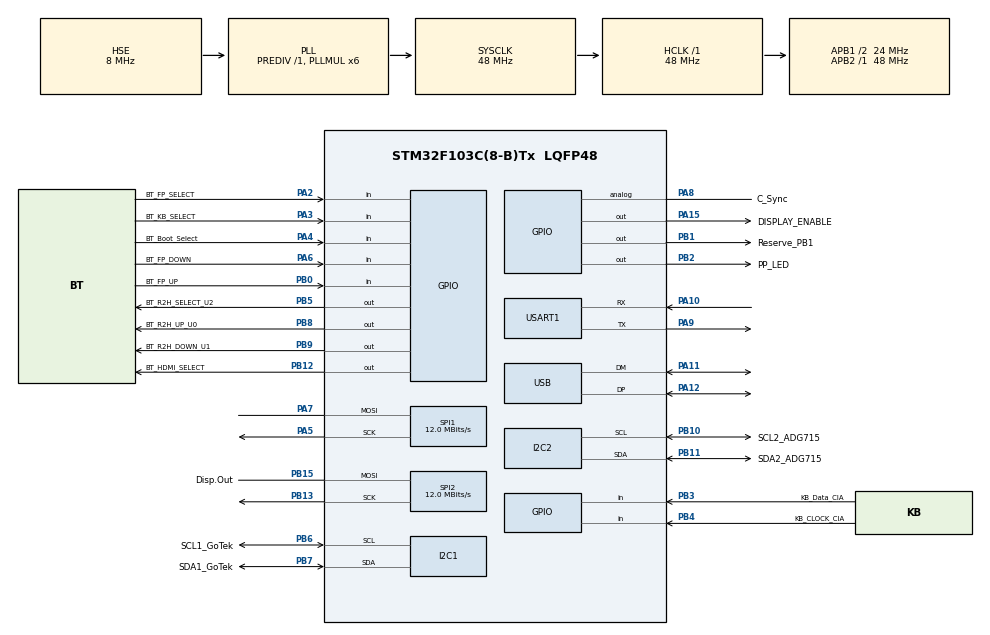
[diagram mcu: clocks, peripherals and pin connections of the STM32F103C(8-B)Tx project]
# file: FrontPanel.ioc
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Mcu.Family=STM32F1
Mcu.Name=STM32F103C(8-B)Tx
Mcu.Package=LQFP48
NVIC.PriorityGroup=NVIC_PRIORITYGROUP_4
PA10.Mode=Asynchronous
PA10.Signal=USART1_RX
PA11.Mode=Device
PA11.Signal=USB_DM
PA12.Mode=Device
PA12.Signal=USB_DP
PA13.Mode=Serial_Wire
PA13.Signal=SYS_JTMS-SWDIO
PA14.Mode=Serial_Wire
PA14.Signal=SYS_JTCK-SWCLK
PA15.GPIO_Label=DISPLAY_ENABLE
PA15.Signal=GPIO_Output
PA2.GPIO_Label=BT_FP_SELECT
PA2.Signal=GPIO_Input
PA3.GPIO_Label=BT_KB_SELECT
PA3.Signal=GPIO_Input
PA4.GPIO_Label=BT_Boot_Select
PA4.GPIO_Mode=GPIO_MODE_INPUT
PA4.Signal=GPIO_Input
PA5.Mode=Simplex_Bidirectional_Master
PA5.Signal=SPI1_SCK
PA6.GPIO_Label=BT_FP_DOWN
PA6.Signal=GPIO_Input
PA7.GPIO_Mode=GPIO_MODE_AF_PP
PA7.GPIO_Speed=GPIO_SPEED_FREQ_HIGH
PA7.Mode=Simplex_Bidirectional_Master
PA7.Signal=SPI1_MOSI
PA8.GPIO_Label=C_Sync
PA8.Signal=GPIO_Analog
PA9.Mode=Asynchronous
PA9.Signal=USART1_TX
PB0.GPIO_Label=BT_FP_UP
PB0.Signal=GPIO_Input
PB1.GPIO_Label=Reserve_PB1
PB1.Signal=GPIO_Output
PB10.GPIO_Label=SCL2_ADG715
PB10.Mode=I2C
PB10.Signal=I2C2_SCL
PB11.GPIO_Label=SDA2_ADG715
PB11.Mode=I2C
PB11.Signal=I2C2_SDA
PB12.GPIO_Label=BT_HDMI_SELECT
PB12.PinState=GPIO_PIN_SET
PB12.Signal=GPIO_Output
PB13.Mode=Simplex_Bidirectional_Master
PB13.Signal=SPI2_SCK
PB15.GPIO_Label=Disp.Out
PB15.Mode=Simplex_Bidirectional_Master
PB15.Signal=SPI2_MOSI
PB2.GPIO_Label=PP_LED
PB2.Signal=GPIO_Output
PB3.GPIO_Label=KB_Data_CIA
PB3.Signal=GPIO_Input
PB4.GPIO_Label=KB_CLOCK_CIA
PB4.Signal=GPIO_Input
PB5.GPIO_Label=BT_R2H_SELECT_U2
PB5.PinState=GPIO_PIN_SET
PB5.Signal=GPIO_Output
PB6.GPIO_Label=SCL1_GoTek
PB6.Mode=I2C
PB6.Signal=I2C1_SCL
PB7.GPIO_Label=SDA1_GoTek
PB7.Mode=I2C
PB7.Signal=I2C1_SDA
PB8.GPIO_Label=BT_R2H_UP_U0
PB8.PinState=GPIO_PIN_SET
PB8.Signal=GPIO_Output
PB9.GPIO_Label=BT_R2H_DOWN_U1
PB9.PinState=GPIO_PIN_SET
PB9.Signal=GPIO_Output
PC14-OSC32_IN.Mode=LSE-External-Oscillator
PC14-OSC32_IN.Signal=RCC_OSC32_IN
PC15-OSC32_OUT.Mode=LSE-External-Oscillator
PC15-OSC32_OUT.Signal=RCC_OSC32_OUT
PD0-OSC_IN.Mode=HSE-External-Oscillator
PD0-OSC_IN.Signal=RCC_OSC_IN
PD1-OSC_OUT.Mode=HSE-External-Oscillator
PD1-OSC_OUT.Signal=RCC_OSC_OUT
ProjectManager.HeapSize=0x200
ProjectManager.StackSize=0x400
ProjectManager.TargetToolchain=STM32CubeIDE
RCC.AHBFreq_Value=48000000
RCC.APB1CLKDivider=RCC_HCLK_DIV2
RCC.APB1Freq_Value=24000000
RCC.APB1TimFreq_Value=48000000
RCC.APB2Freq_Value=48000000
RCC.APB2TimFreq_Value=48000000
RCC.HCLKFreq_Value=48000000
RCC.PLLMUL=RCC_PLL_MUL6
RCC.SYSCLKFreq_VALUE=48000000
RCC.SYSCLKSource=RCC_SYSCLKSOURCE_PLLCLK
RCC.USBFreq_Value=48000000
SPI1.BaudRatePrescaler=SPI_BAUDRATEPRESCALER_4
SPI1.CalculateBaudRate=12.0 MBits/s
SPI1.Direction=SPI_DIRECTION_1LINE
SPI1.Mode=SPI_MODE_MASTER
SPI1.VirtualType=VM_MASTER
SPI2.CalculateBaudRate=12.0 MBits/s
SPI2.Direction=SPI_DIRECTION_1LINE
SPI2.Mode=SPI_MODE_MASTER
SPI2.VirtualType=VM_MASTER
USART1.VirtualMode=VM_ASYNC
board=custom

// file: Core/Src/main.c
/* USER CODE BEGIN Header */
/**
  ******************************************************************************
  * @file           : main.c
  * @brief          : Main program body
  ******************************************************************************
  * @attention
  *
  * Copyright (c) 2024 STMicroelectronics.
  * All rights reserved.
  *
  * This software is licensed under terms that can be found in the LICENSE file
  * in the root directory of this software component.
  * If no LICENSE file comes with this software, it is provided AS-IS.
  *
  ******************************************************************************
  */
/* USER CODE END Header */
#include "main.h"

I2C_HandleTypeDef hi2c1;
I2C_HandleTypeDef hi2c2;

SPI_HandleTypeDef hspi1;
SPI_HandleTypeDef hspi2;

UART_HandleTypeDef huart1;

PCD_HandleTypeDef hpcd_USB_FS;

void SystemClock_Config(void);
static void MX_GPIO_Init(void);
static void MX_USB_PCD_Init(void);
static void MX_I2C1_Init(void);
static void MX_I2C2_Init(void);
static void MX_SPI1_Init(void);
static void MX_USART1_UART_Init(void);
static void MX_SPI2_Init(void);

/* USER CODE BEGIN 0 */
#define FLASH_ADDRESS_PATTERN  0x0801F800 //letzte Speicheradresse, da von vorne der Speicher mit dem Code selbst gefüllt wird
uint32_t buttonPressTime = 0;
uint32_t buttonReleaseTime = 0;
uint8_t buttonPressed = 0;

#define FLASH_STORAGE_ADDR 0x0801F800
#define FP 1U //FP = FrontPanel
#define BS 0U //BS = BootSelector
//#define HS 2U //HS = Hdmi Select
#define storage_type FP
uint64_t var_flash_Data =0;
uint64_t *flash_data = &var_flash_Data;
uint8_t var_fp_sw_patern =0;
uint8_t *fp_sw_patern = &var_fp_sw_patern;
uint8_t var_bs_sw_patern;
uint8_t *bs_sw_patern = &var_bs_sw_patern;
//uint8_t var_hs_sw_patern;
//uint8_t *hs_sw_patern = &var_hs_sw_patern;

/* USER CODE END 0 */

int main(void)
{

  /* MCU Configuration--------------------------------------------------------*/

  /* Reset of all peripherals, Initializes the Flash interface and the Systick. */
  HAL_Init();

  /* USER CODE BEGIN Init */
    /* Set I2C-Bus-Adress and Pattern for FrontPanel LEDs  */
	static const uint8_t ADG715_FP_ADDR = 0x48 << 1 ; //Use7-bit address
	*fp_sw_patern =                  0b00000000;
	//uint8_t LED_FP_UP =              0b10000000;
	//uint8_t LED_FP_DOWN =            0b01000000;
	//uint8_t LED_FP_SELECT =          0b00100000;
	uint8_t LED_BOOT_SELECT_DF1_3 =  0b00010000;
	uint8_t LED_HDMI_SELECT =        0b00001000;
	uint8_t LED_KB_SELECT =          0b00000100;
	uint8_t LED_BOOT_SELECT_DF2_3 =  0b00000010;
	uint8_t KB_SELECT =              0b00000001;
	uint8_t LED_R2H_DISPLAY_ENABLE = 0b11100000;

	/* Set I2C-Bus-Adress and Pattern for Boot-Selector  */
	static const uint8_t ADG715_Boot_SELECTOR_ADDR = 0x49 << 1 ; //Use7-bit address
	*bs_sw_patern = 0b00000000;
	uint8_t DF0 =   0b00000000;
	uint8_t DF1 =   0b01000011;
	uint8_t DF2 =   0b10001100;
	uint8_t DF3 =   0b11110000;
	//	uint8_t DF_BOOT_SELECT_LED =   0b01000000;

	_Bool R2H_DISPLAY_ENABLED = 0; // 1 = up,down and Select button are used for Rgb2hdmi; 0 = Buttons are used for GoTek

	/* Set Constant of HDMI-Select
	uint8_t hdmi_A =   0b00000000; // this Variable stores the Pattern for selecting the A-output of the HDMI-Switch
	uint8_t hdmi_B =   0b00000001; // this Variable stores the Pattern for selecting the B-output of the HDMI-Switch
	*/

  /* USER CODE END Init */

  /* Configure the system clock */
  SystemClock_Config();

  /* Initialize all configured peripherals */
  MX_GPIO_Init();
  MX_USB_PCD_Init();
  MX_I2C1_Init();
  MX_I2C2_Init();
  MX_SPI1_Init();
  MX_USART1_UART_Init();
  MX_SPI2_Init();
  /* USER CODE BEGIN 2 */
  // Listen on GPIO for Interrupts
  //HAL_GPIO_EXTI_IRQHandler(GPIO_PIN_0);

  // Read Flash_Storage if it is erased than write Default Pattern
  	  	// erase_flash();
  	  	read_flash(FP);
    	read_flash(BS);

    	if (*fp_sw_patern == 255 && *bs_sw_patern == 255)
    	{
    		*fp_sw_patern = 0b00000000;
    		write_flash(FP)	;
    		*bs_sw_patern = 0b00000000;
    		write_flash(BS)	;
    	}
    	//check I2C-Bus and indicate status on PP-LED
		switch (HAL_I2C_IsDeviceReady(&hi2c2, ADG715_FP_ADDR, 1, 300))
		{
			case HAL_BUSY:
				HAL_GPIO_WritePin(PP_LED_GPIO_Port, PP_LED_Pin, 1);
				HAL_Delay(1000);
				HAL_GPIO_WritePin(PP_LED_GPIO_Port, PP_LED_Pin, 0);
				HAL_Delay(1000);
			break;
			case HAL_TIMEOUT:
				HAL_GPIO_WritePin(PP_LED_GPIO_Port, PP_LED_Pin, 1);
				HAL_Delay(500);
				HAL_GPIO_WritePin(PP_LED_GPIO_Port, PP_LED_Pin, 0);
				HAL_Delay(50);
			break;
			case HAL_ERROR:
				HAL_GPIO_WritePin(PP_LED_GPIO_Port, PP_LED_Pin, 1);
				HAL_Delay(50);
				HAL_GPIO_WritePin(PP_LED_GPIO_Port, PP_LED_Pin, 0);
				HAL_Delay(100);
			break;
			case HAL_OK:
				// write pattern to ADG715 Switch IC
				HAL_I2C_Master_Transmit(&hi2c2, ADG715_FP_ADDR, fp_sw_patern, 1, 100);
				HAL_I2C_Master_Transmit(&hi2c2, ADG715_Boot_SELECTOR_ADDR, bs_sw_patern, 1, 100);
				HAL_GPIO_WritePin(PP_LED_GPIO_Port, PP_LED_Pin, 1);
				//HAL_Delay(100);
			break;
		}
		// Check if R2H_DISPLAY_ENABLED was enabled before PowerOff --> switch off LEDs and write to flash
		if ((*fp_sw_patern & LED_R2H_DISPLAY_ENABLE) == LED_R2H_DISPLAY_ENABLE){
			*fp_sw_patern = *fp_sw_patern - LED_R2H_DISPLAY_ENABLE;
			HAL_I2C_Master_Transmit(&hi2c2, ADG715_FP_ADDR, fp_sw_patern, 1, 100);
			write_flash(FP);
		}
		// Set HDMI-Switch according to the stored Status (before Powered off)
		if((*fp_sw_patern & LED_HDMI_SELECT) == LED_HDMI_SELECT ){
			HAL_GPIO_WritePin(BT_HDMI_SELECT_GPIO_Port, BT_HDMI_SELECT_Pin,0);
			HAL_Delay(50);
			HAL_GPIO_WritePin(BT_HDMI_SELECT_GPIO_Port, BT_HDMI_SELECT_Pin,1);
			HAL_Delay(50);
		}

  /* USER CODE END 2 */

  /* Infinite loop */
  while (1)
  {

    /* USER CODE BEGIN 3 */

	  HAL_GPIO_WritePin(PP_LED_GPIO_Port, PP_LED_Pin, 0);

	  // If Button KB_SELECT is pushed switch than toggle LED_KB_SELECT
		if (!HAL_GPIO_ReadPin (BT_KB_SELECT_GPIO_Port,BT_KB_SELECT_Pin))
		{
			// In Case the Button was already pushed switch KB_Select and LED to LOW
			if((*fp_sw_patern & (KB_SELECT + LED_KB_SELECT)) == (KB_SELECT + LED_KB_SELECT)){
				*fp_sw_patern = *fp_sw_patern - (KB_SELECT + LED_KB_SELECT);
				write_flash(FP);
			}else{
				*fp_sw_patern = *fp_sw_patern + (KB_SELECT + LED_KB_SELECT);
				write_flash(FP);
			}
			HAL_I2C_Master_Transmit(&hi2c2, ADG715_FP_ADDR, fp_sw_patern, 1, 100);
			HAL_Delay(300);
		}

		// If Button HDMI_SELECT is pushed than toggle LED_HDMI_SELECT
		if (!HAL_GPIO_ReadPin (BT_HDMI_SELECT_GPIO_Port, BT_HDMI_SELECT_Pin))
		{
			if((*fp_sw_patern & LED_HDMI_SELECT) == LED_HDMI_SELECT ){
				*fp_sw_patern = *fp_sw_patern - LED_HDMI_SELECT;
				write_flash(FP);
			}else{
				*fp_sw_patern = *fp_sw_patern + LED_HDMI_SELECT;
				write_flash(FP);
			}
			HAL_I2C_Master_Transmit(&hi2c2, ADG715_FP_ADDR, fp_sw_patern, 1, 100);
			HAL_Delay(300);
		}

		// If Button UP is pushed in R2H_Display_Enebled-Mode than put R2H-PIN for 50 mSec to Low
		if (!HAL_GPIO_ReadPin (BT_FP_UP_GPIO_Port,BT_FP_UP_Pin) && R2H_DISPLAY_ENABLED)
		{
			if(R2H_DISPLAY_ENABLED){
				HAL_GPIO_WritePin(BT_R2H_UP_U0_GPIO_Port, BT_R2H_UP_U0_Pin,0);
				HAL_Delay(50);
				HAL_GPIO_WritePin(BT_R2H_UP_U0_GPIO_Port, BT_R2H_UP_U0_Pin,1);
				HAL_Delay(50);
			}
		}

		// If Button DOWN is pushed in R2H_Display_Enebled-Mode than put R2H-PIN for 50 mSec to Low
		if (!HAL_GPIO_ReadPin (BT_FP_DOWN_GPIO_Port,BT_FP_DOWN_Pin) && R2H_DISPLAY_ENABLED)
		{
			if(R2H_DISPLAY_ENABLED){
				HAL_GPIO_WritePin(BT_R2H_DOWN_U1_GPIO_Port, BT_R2H_DOWN_U1_Pin,0);
				HAL_Delay(50);
				HAL_GPIO_WritePin(BT_R2H_DOWN_U1_GPIO_Port, BT_R2H_DOWN_U1_Pin,1);
				HAL_Delay(50);
			}
		}

		// If Button SELECT is pushed in R2H_Display_Enebled-Mode than put R2H-PIN for 50 mSec to Low
		if (!HAL_GPIO_ReadPin (BT_FP_SELECT_GPIO_Port, BT_FP_SELECT_Pin) && R2H_DISPLAY_ENABLED)
		{
			if(R2H_DISPLAY_ENABLED){
				HAL_GPIO_WritePin(BT_R2H_SELECT_U2_GPIO_Port, BT_R2H_SELECT_U2_Pin,0);
				HAL_Delay(50);
				HAL_GPIO_WritePin(BT_R2H_SELECT_U2_GPIO_Port, BT_R2H_SELECT_U2_Pin,1);
				HAL_Delay(50);
			}
		}

		// If SELECT Button on R2H-Board is pushed than activate R2H_DISPLAY_ENABLED and light on 3-Buttons
		if (!HAL_GPIO_ReadPin (BT_R2H_SELECT_U2_GPIO_Port, BT_R2H_SELECT_U2_Pin) )
		{
			if(R2H_DISPLAY_ENABLED ==0){
				R2H_DISPLAY_ENABLED = 1;
				*fp_sw_patern = *fp_sw_patern + LED_R2H_DISPLAY_ENABLE;
				write_flash(FP);
			}
			HAL_I2C_Master_Transmit(&hi2c2, ADG715_FP_ADDR, fp_sw_patern, 1, 100);
			HAL_Delay(50);
		}

		if (!HAL_GPIO_ReadPin(BT_Boot_Select_GPIO_Port, BT_Boot_Select_Pin)) {

			buttonPressTime = HAL_GetTick();
			while(!HAL_GPIO_ReadPin(BT_Boot_Select_GPIO_Port, BT_Boot_Select_Pin)){}
			buttonReleaseTime = HAL_GetTick();

			if ((buttonReleaseTime - buttonPressTime) > 800) {
				if(R2H_DISPLAY_ENABLED == 0){
					R2H_DISPLAY_ENABLED = 1;
					*fp_sw_patern = *fp_sw_patern + LED_R2H_DISPLAY_ENABLE;
					write_flash(FP);
				}else{
					R2H_DISPLAY_ENABLED = 0;
					*fp_sw_patern = *fp_sw_patern - LED_R2H_DISPLAY_ENABLE;
					write_flash(FP);
				}
			}else{
				// button was pressed very short
				// df1
				while(1){
						if((LED_BOOT_SELECT_DF1_3 != (*fp_sw_patern & LED_BOOT_SELECT_DF1_3)) && (LED_BOOT_SELECT_DF2_3 !=(*fp_sw_patern & LED_BOOT_SELECT_DF2_3)) )
						{
							*fp_sw_patern = *fp_sw_patern + LED_BOOT_SELECT_DF1_3;
							HAL_I2C_Master_Transmit(&hi2c2, ADG715_FP_ADDR, fp_sw_patern, 1, 100); //LED on FrontPanel will lightening in Blue
							write_flash(FP);
							*bs_sw_patern = DF1;
							HAL_I2C_Master_Transmit(&hi2c2, ADG715_Boot_SELECTOR_ADDR, bs_sw_patern, 1, 100); //BOOT_SEL Connections between CIA and MB will be changed to DF1
							write_flash(BS);
							HAL_Delay(50);
							break;
						}
						// df2
						if((LED_BOOT_SELECT_DF1_3 == (*fp_sw_patern & LED_BOOT_SELECT_DF1_3)) && (LED_BOOT_SELECT_DF2_3 !=(*fp_sw_patern & LED_BOOT_SELECT_DF2_3)) )
						{
							*fp_sw_patern = (*fp_sw_patern - LED_BOOT_SELECT_DF1_3) + LED_BOOT_SELECT_DF2_3;
							HAL_I2C_Master_Transmit(&hi2c2, ADG715_FP_ADDR, fp_sw_patern, 1, 100); //LED on FrontPanel will lightening in Red
							write_flash(FP);
							*bs_sw_patern = DF2;
							HAL_I2C_Master_Transmit(&hi2c2, ADG715_Boot_SELECTOR_ADDR, bs_sw_patern, 1, 100); //BOOT_SEL Connections between CIA and MB will be changed to DF2
							write_flash(BS);
							HAL_Delay(50);
							break;
						}
						// df3
						if((LED_BOOT_SELECT_DF1_3 != (*fp_sw_patern & LED_BOOT_SELECT_DF1_3)) && (LED_BOOT_SELECT_DF2_3 ==(*fp_sw_patern & LED_BOOT_SELECT_DF2_3)) )
						{
							*fp_sw_patern = *fp_sw_patern + LED_BOOT_SELECT_DF1_3;
							HAL_I2C_Master_Transmit(&hi2c2, ADG715_FP_ADDR, fp_sw_patern, 1, 100); //LED on FrontPanel will lightening in Pink
							write_flash(FP);
							*bs_sw_patern = DF3;
							HAL_I2C_Master_Transmit(&hi2c2, ADG715_Boot_SELECTOR_ADDR, bs_sw_patern, 1, 100); //BOOT_SEL Connections between CIA and MB will be changed to DF3
							write_flash(BS);
							HAL_Delay(50);
							break;
						}
						// df0
						if((LED_BOOT_SELECT_DF1_3 == (*fp_sw_patern & LED_BOOT_SELECT_DF1_3)) && (LED_BOOT_SELECT_DF2_3 ==(*fp_sw_patern & LED_BOOT_SELECT_DF2_3)) )
						{
							*fp_sw_patern = *fp_sw_patern - (LED_BOOT_SELECT_DF1_3 + LED_BOOT_SELECT_DF2_3);
							HAL_I2C_Master_Transmit(&hi2c2, ADG715_FP_ADDR, fp_sw_patern, 1, 100); //LED on FrontPanel will be switched off
							write_flash(FP);
							*bs_sw_patern = DF0;
							HAL_I2C_Master_Transmit(&hi2c2, ADG715_Boot_SELECTOR_ADDR, bs_sw_patern, 1, 100); //BOOT_SEL Connections between CIA and MB will not be changed
							write_flash(BS);
							HAL_Delay(50);
							break;
						}
						break;
				}
			}
			HAL_I2C_Master_Transmit(&hi2c2, ADG715_FP_ADDR, fp_sw_patern, 1, 100);
			HAL_Delay(500);
			buttonPressed = 0; // Zurücksetzen

		}

		switch (HAL_I2C_IsDeviceReady(&hi2c2, ADG715_Boot_SELECTOR_ADDR, 1, 300))
		{
		case HAL_BUSY:
			HAL_GPIO_WritePin(PP_LED_GPIO_Port, PP_LED_Pin, 1);
			HAL_Delay(1000);
			HAL_GPIO_WritePin(GPIOB, PP_LED_Pin, 0);
			HAL_Delay(1000);
		break;
		case HAL_TIMEOUT:
			HAL_GPIO_WritePin(PP_LED_GPIO_Port, PP_LED_Pin, 1);
			HAL_Delay(500);
			HAL_GPIO_WritePin(GPIOB, PP_LED_Pin, 0);
			HAL_Delay(50);
		break;
		case HAL_ERROR:
			/*
			HAL_GPIO_WritePin(PP_LED_GPIO_Port, PP_LED_Pin, 1);
			HAL_Delay(50);
			HAL_GPIO_WritePin(GPIOB, PP_LED_Pin, 0);
			HAL_Delay(500);
			*/
		break;
		case HAL_OK:
			// PluePill-OnBoardLED On , because I2C-Slave-Device is ready
			HAL_GPIO_WritePin(PP_LED_GPIO_Port, PP_LED_Pin, 1);
			HAL_Delay(50);
		}
  }
  /* USER CODE END 3 */
}

void SystemClock_Config(void)
{
  RCC_OscInitTypeDef RCC_OscInitStruct = {0};
  RCC_ClkInitTypeDef RCC_ClkInitStruct = {0};
  RCC_PeriphCLKInitTypeDef PeriphClkInit = {0};

  /** Initializes the RCC Oscillators according to the specified parameters
  * in the RCC_OscInitTypeDef structure.
  */
  RCC_OscInitStruct.OscillatorType = RCC_OSCILLATORTYPE_HSE;
  RCC_OscInitStruct.HSEState = RCC_HSE_ON;
  RCC_OscInitStruct.HSEPredivValue = RCC_HSE_PREDIV_DIV1;
  RCC_OscInitStruct.HSIState = RCC_HSI_ON;
  RCC_OscInitStruct.PLL.PLLState = RCC_PLL_ON;
  RCC_OscInitStruct.PLL.PLLSource = RCC_PLLSOURCE_HSE;
  RCC_OscInitStruct.PLL.PLLMUL = RCC_PLL_MUL6;
  if (HAL_RCC_OscConfig(&RCC_OscInitStruct) != HAL_OK)
  {
    Error_Handler();
  }

  /** Initializes the CPU, AHB and APB buses clocks
  */
  RCC_ClkInitStruct.ClockType = RCC_CLOCKTYPE_HCLK|RCC_CLOCKTYPE_SYSCLK
                              |RCC_CLOCKTYPE_PCLK1|RCC_CLOCKTYPE_PCLK2;
  RCC_ClkInitStruct.SYSCLKSource = RCC_SYSCLKSOURCE_PLLCLK;
  RCC_ClkInitStruct.AHBCLKDivider = RCC_SYSCLK_DIV1;
  RCC_ClkInitStruct.APB1CLKDivider = RCC_HCLK_DIV2;
  RCC_ClkInitStruct.APB2CLKDivider = RCC_HCLK_DIV1;

  if (HAL_RCC_ClockConfig(&RCC_ClkInitStruct, FLASH_LATENCY_1) != HAL_OK)
  {
    Error_Handler();
  }
  PeriphClkInit.PeriphClockSelection = RCC_PERIPHCLK_USB;
  PeriphClkInit.UsbClockSelection = RCC_USBCLKSOURCE_PLL;
  if (HAL_RCCEx_PeriphCLKConfig(&PeriphClkInit) != HAL_OK)
  {
    Error_Handler();
  }
}

static void MX_I2C1_Init(void)
{

  hi2c1.Instance = I2C1;
  hi2c1.Init.ClockSpeed = 100000;
  hi2c1.Init.DutyCycle = I2C_DUTYCYCLE_2;
  hi2c1.Init.OwnAddress1 = 0;
  hi2c1.Init.AddressingMode = I2C_ADDRESSINGMODE_7BIT;
  hi2c1.Init.DualAddressMode = I2C_DUALADDRESS_DISABLE;
  hi2c1.Init.OwnAddress2 = 0;
  hi2c1.Init.GeneralCallMode = I2C_GENERALCALL_DISABLE;
  hi2c1.Init.NoStretchMode = I2C_NOSTRETCH_DISABLE;
  if (HAL_I2C_Init(&hi2c1) != HAL_OK)
  {
    Error_Handler();
  }

}

static void MX_I2C2_Init(void)
{

  hi2c2.Instance = I2C2;
  hi2c2.Init.ClockSpeed = 100000;
  hi2c2.Init.DutyCycle = I2C_DUTYCYCLE_2;
  hi2c2.Init.OwnAddress1 = 0;
  hi2c2.Init.AddressingMode = I2C_ADDRESSINGMODE_7BIT;
  hi2c2.Init.DualAddressMode = I2C_DUALADDRESS_DISABLE;
  hi2c2.Init.OwnAddress2 = 0;
  hi2c2.Init.GeneralCallMode = I2C_GENERALCALL_DISABLE;
  hi2c2.Init.NoStretchMode = I2C_NOSTRETCH_DISABLE;
  if (HAL_I2C_Init(&hi2c2) != HAL_OK)
  {
    Error_Handler();
  }

}

static void MX_SPI1_Init(void)
{

  /* SPI1 parameter configuration*/
  hspi1.Instance = SPI1;
  hspi1.Init.Mode = SPI_MODE_MASTER;
  hspi1.Init.Direction = SPI_DIRECTION_1LINE;
  hspi1.Init.DataSize = SPI_DATASIZE_8BIT;
  hspi1.Init.CLKPolarity = SPI_POLARITY_LOW;
  hspi1.Init.CLKPhase = SPI_PHASE_1EDGE;
  hspi1.Init.NSS = SPI_NSS_SOFT;
  hspi1.Init.BaudRatePrescaler = SPI_BAUDRATEPRESCALER_4;
  hspi1.Init.FirstBit = SPI_FIRSTBIT_MSB;
  hspi1.Init.TIMode = SPI_TIMODE_DISABLE;
  hspi1.Init.CRCCalculation = SPI_CRCCALCULATION_DISABLE;
  hspi1.Init.CRCPolynomial = 10;
  if (HAL_SPI_Init(&hspi1) != HAL_OK)
  {
    Error_Handler();
  }

}

static void MX_SPI2_Init(void)
{

  /* SPI2 parameter configuration*/
  hspi2.Instance = SPI2;
  hspi2.Init.Mode = SPI_MODE_MASTER;
  hspi2.Init.Direction = SPI_DIRECTION_1LINE;
  hspi2.Init.DataSize = SPI_DATASIZE_8BIT;
  hspi2.Init.CLKPolarity = SPI_POLARITY_LOW;
  hspi2.Init.CLKPhase = SPI_PHASE_1EDGE;
  hspi2.Init.NSS = SPI_NSS_SOFT;
  hspi2.Init.BaudRatePrescaler = SPI_BAUDRATEPRESCALER_2;
  hspi2.Init.FirstBit = SPI_FIRSTBIT_MSB;
  hspi2.Init.TIMode = SPI_TIMODE_DISABLE;
  hspi2.Init.CRCCalculation = SPI_CRCCALCULATION_DISABLE;
  hspi2.Init.CRCPolynomial = 10;
  if (HAL_SPI_Init(&hspi2) != HAL_OK)
  {
    Error_Handler();
  }

}

static void MX_USART1_UART_Init(void)
{

  huart1.Instance = USART1;
  huart1.Init.BaudRate = 115200;
  huart1.Init.WordLength = UART_WORDLENGTH_8B;
  huart1.Init.StopBits = UART_STOPBITS_1;
  huart1.Init.Parity = UART_PARITY_NONE;
  huart1.Init.Mode = UART_MODE_TX_RX;
  huart1.Init.HwFlowCtl = UART_HWCONTROL_NONE;
  huart1.Init.OverSampling = UART_OVERSAMPLING_16;
  if (HAL_UART_Init(&huart1) != HAL_OK)
  {
    Error_Handler();
  }

}

static void MX_USB_PCD_Init(void)
{

  hpcd_USB_FS.Instance = USB;
  hpcd_USB_FS.Init.dev_endpoints = 8;
  hpcd_USB_FS.Init.speed = PCD_SPEED_FULL;
  hpcd_USB_FS.Init.low_power_enable = DISABLE;
  hpcd_USB_FS.Init.lpm_enable = DISABLE;
  hpcd_USB_FS.Init.battery_charging_enable = DISABLE;
  if (HAL_PCD_Init(&hpcd_USB_FS) != HAL_OK)
  {
    Error_Handler();
  }

}

static void MX_GPIO_Init(void)
{
  GPIO_InitTypeDef GPIO_InitStruct = {0};

  /* GPIO Ports Clock Enable */
  __HAL_RCC_GPIOC_CLK_ENABLE();
  __HAL_RCC_GPIOD_CLK_ENABLE();
  __HAL_RCC_GPIOA_CLK_ENABLE();
  __HAL_RCC_GPIOB_CLK_ENABLE();

  /*Configure GPIO pin Output Level */
  HAL_GPIO_WritePin(GPIOB, Reserve_PB1_Pin|PP_LED_Pin, GPIO_PIN_RESET);

  /*Configure GPIO pin Output Level */
  HAL_GPIO_WritePin(GPIOB, BT_HDMI_SELECT_Pin|BT_R2H_SELECT_U2_Pin|BT_R2H_UP_U0_Pin|BT_R2H_DOWN_U1_Pin, GPIO_PIN_SET);

  /*Configure GPIO pin Output Level */
  HAL_GPIO_WritePin(DISPLAY_ENABLE_GPIO_Port, DISPLAY_ENABLE_Pin, GPIO_PIN_RESET);

  /*Configure GPIO pins : BT_FP_SELECT_Pin BT_KB_SELECT_Pin BT_Boot_Select_Pin BT_FP_DOWN_Pin */
  GPIO_InitStruct.Pin = BT_FP_SELECT_Pin|BT_KB_SELECT_Pin|BT_Boot_Select_Pin|BT_FP_DOWN_Pin;
  GPIO_InitStruct.Mode = GPIO_MODE_INPUT;
  GPIO_InitStruct.Pull = GPIO_NOPULL;
  HAL_GPIO_Init(GPIOA, &GPIO_InitStruct);

  /*Configure GPIO pins : BT_FP_UP_Pin KB_Data_CIA_Pin KB_CLOCK_CIA_Pin */
  GPIO_InitStruct.Pin = BT_FP_UP_Pin|KB_Data_CIA_Pin|KB_CLOCK_CIA_Pin;
  GPIO_InitStruct.Mode = GPIO_MODE_INPUT;
  GPIO_InitStruct.Pull = GPIO_NOPULL;
  HAL_GPIO_Init(GPIOB, &GPIO_InitStruct);

  /*Configure GPIO pins : Reserve_PB1_Pin PP_LED_Pin BT_HDMI_SELECT_Pin BT_R2H_SELECT_U2_Pin
                           BT_R2H_UP_U0_Pin BT_R2H_DOWN_U1_Pin */
  GPIO_InitStruct.Pin = Reserve_PB1_Pin|PP_LED_Pin|BT_HDMI_SELECT_Pin|BT_R2H_SELECT_U2_Pin
                          |BT_R2H_UP_U0_Pin|BT_R2H_DOWN_U1_Pin;
  GPIO_InitStruct.Mode = GPIO_MODE_OUTPUT_PP;
  GPIO_InitStruct.Pull = GPIO_NOPULL;
  GPIO_InitStruct.Speed = GPIO_SPEED_FREQ_LOW;
  HAL_GPIO_Init(GPIOB, &GPIO_InitStruct);

  /*Configure GPIO pin : C_Sync_Pin */
  GPIO_InitStruct.Pin = C_Sync_Pin;
  GPIO_InitStruct.Mode = GPIO_MODE_ANALOG;
  HAL_GPIO_Init(C_Sync_GPIO_Port, &GPIO_InitStruct);

  /*Configure GPIO pin : DISPLAY_ENABLE_Pin */
  GPIO_InitStruct.Pin = DISPLAY_ENABLE_Pin;
  GPIO_InitStruct.Mode = GPIO_MODE_OUTPUT_PP;
  GPIO_InitStruct.Pull = GPIO_NOPULL;
  GPIO_InitStruct.Speed = GPIO_SPEED_FREQ_LOW;
  HAL_GPIO_Init(DISPLAY_ENABLE_GPIO_Port, &GPIO_InitStruct);

}

/* USER CODE BEGIN 4 */
/*
void HAL_GPIO_EXTI_Callback(uint16_t GPIO_Pin)
{
  if(GPIO_Pin == BT_Boot_Select_Pin) {
	  /*
	  if (HAL_GPIO_ReadPin(BT_Boot_Select_GPIO_Port, BT_Boot_Select_Pin) == GPIO_PIN_RESET) {
		  buttonPressTime = HAL_GetTick();
		  buttonPressed = 1;
	  } else {
		  buttonPressed = 0;
	  }

	  if (!buttonPressed){
		  buttonPressTime = HAL_GetTick();
		  buttonPressed = 1;
	  }
  }
}
*/
void read_flash(uint8_t type)
{
	*flash_data = *(uint64_t*)(FLASH_STORAGE_ADDR);
	if (type == BS)
	*bs_sw_patern = *flash_data>>16;
	if (type == FP)
	*fp_sw_patern =	*flash_data>>24;

}
HAL_StatusTypeDef write_flash(uint8_t type)
{
	// write both switch Pattern in one DWORD
	*flash_data = *(uint64_t*)(FLASH_STORAGE_ADDR);
	if (type == BS) {
		*flash_data &= ~(0xFFULL << 16);           		// Maske zum Löschen des 3. Bytes
		*flash_data |= ((uint64_t)*bs_sw_patern << 16); // Neues Byte einsetzen
	}
	if (type == FP) {
		*flash_data &= ~(0xFFULL << 24);           		// Maske zum Löschen des 3. Bytes
		*flash_data |= ((uint64_t)*fp_sw_patern << 24); // Neues Byte einsetzen
	}
	/* Unlock the Flash to enable the flash control register access *************/
		HAL_FLASH_Unlock();

		/* Allow Access to option bytes sector */
		HAL_FLASH_OB_Unlock();
		HAL_StatusTypeDef status;
		if ((erase_flash()) == HAL_OK)
			status = HAL_FLASH_Program(FLASH_TYPEPROGRAM_DOUBLEWORD,FLASH_STORAGE_ADDR, *flash_data);
		HAL_FLASH_OB_Lock();
		HAL_FLASH_Lock();
		return status;
}
HAL_StatusTypeDef erase_flash(){
		HAL_FLASH_Unlock();
		HAL_FLASH_OB_Unlock();
	/* Fill EraseInit structure*/
		FLASH_EraseInitTypeDef EraseInitStruct;
		EraseInitStruct.TypeErase = FLASH_TYPEERASE_PAGES;
		EraseInitStruct.PageAddress = FLASH_STORAGE_ADDR;
		EraseInitStruct.NbPages = 1;
		uint32_t  PageError = 0;
		volatile HAL_StatusTypeDef status;
		status = HAL_FLASHEx_Erase(&EraseInitStruct, &PageError);
		return status;
}

/* USER CODE END 4 */

void Error_Handler(void)
{
  __disable_irq();
  while (1)
  {
  }
}
